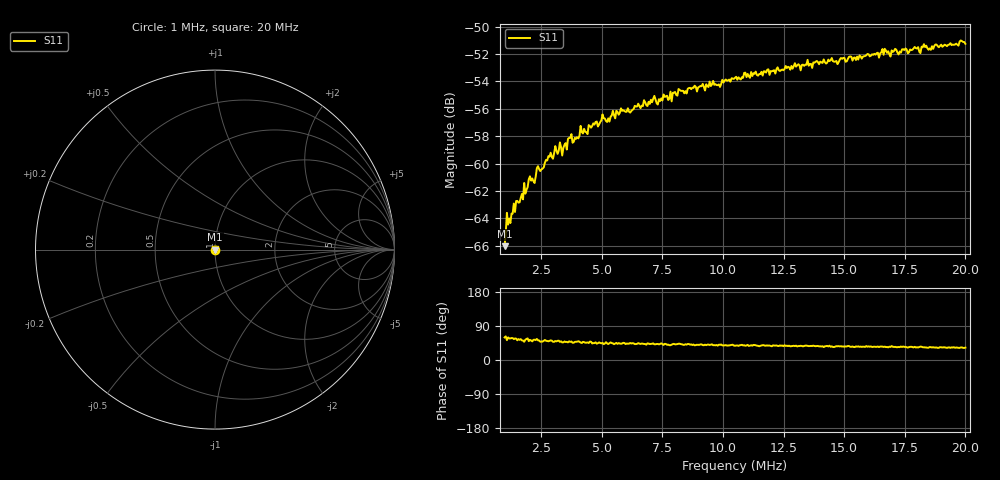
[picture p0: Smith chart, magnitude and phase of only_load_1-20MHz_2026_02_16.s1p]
# HZ S RI R 50
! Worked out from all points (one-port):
!   401 points, 1 MHz to 20 MHz, reference 50 ohm
!   lowest |S11| = -66.0 dB at 1 MHz (marker M1), VSWR 1.00, Z = 50 + j0.0431 ohm
!   |S11| at or under -10 dB: start of sweep to end of sweep
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1000000  0.000252 0.00043
1190000  0.000343 0.000528
2045000  0.000539 0.000718
2187500  0.000515 0.000691
2377500  0.000603 0.000769
2567500  0.000631 0.000721
2805000  0.000692 0.000807
3375000  0.000737 0.000775
3470000  0.00077 0.000882
3707500  0.000831 0.00092
3945000  0.000822 0.000917
4230000  0.000865 0.000955
4325000  0.000911 0.000935
5037500  0.00106 0.00107
5275000  0.00108 0.000981
5750000  0.00111 0.00105
6225000  0.00113 0.00107
6462500  0.00119 0.0011
7127500  0.00124 0.00119
7365000  0.00129 0.00113
8125000  0.00132 0.00118
9550000  0.00146 0.00129
9835000  0.00148 0.00126
1.05e7  0.00163 0.00126
1.2875e7  0.00178 0.00134
1.525e7  0.00202 0.00141
1.7625e7  0.00213 0.00137
2e7  0.0023 0.00148
